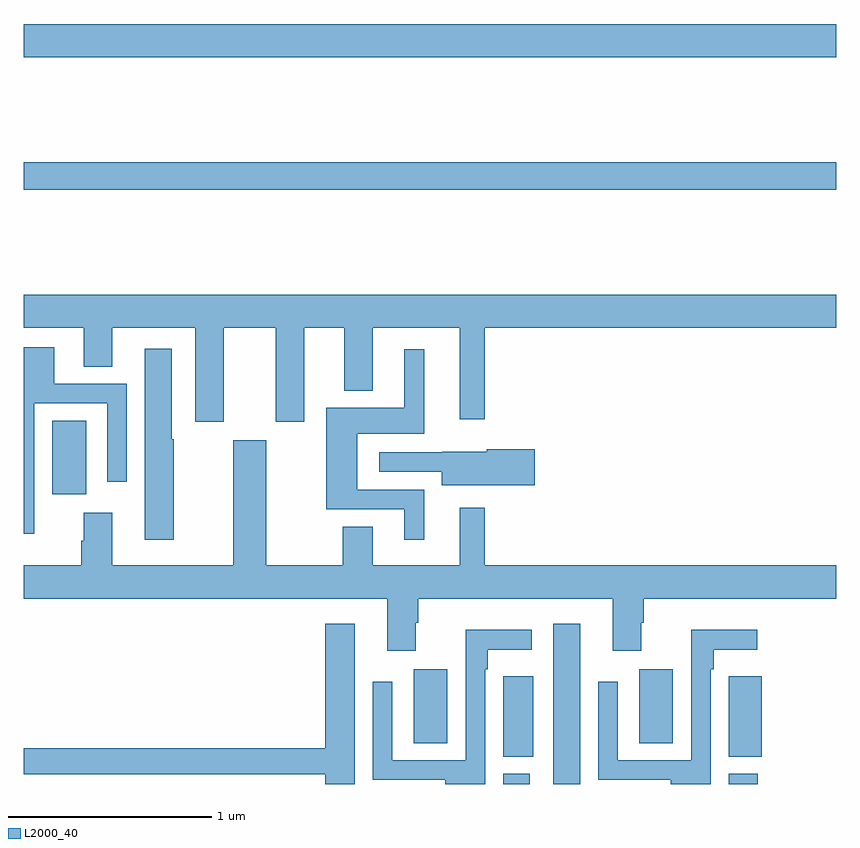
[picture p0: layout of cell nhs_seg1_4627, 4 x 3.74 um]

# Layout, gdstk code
import gdstk
lib = gdstk.Library(unit=1e-6, precision=1e-09)
def R(c, l, rs):  # rectangles x0, y0, x1, y1
    for r in rs: c.add(gdstk.rectangle(r[:2], r[2:], *l))
def P(c, l, *ps):  # polygons
    for p in ps: c.add(gdstk.Polygon(p, *l))
L2000_40 = (2000, 40)

nhs_seg1_4627 = lib.new_cell('nhs_seg1_4627')
R(nhs_seg1_4627, L2000_40, [(365.36,504.199,365.491,504.249), (365.606,504.199,365.74,504.988), (366.47,504.199,366.614,504.249), (365.36,504.334,365.509,504.73), (364.919,504.4,365.086,504.763), (366.029,504.4,366.196,504.763), (363.14,505.626,363.307,505.988), (363,507.124,367,507.26), (363,507.776,367,507.94)])
P(nhs_seg1_4627, L2000_40, [(363,506.444),(363.296,506.444),(363.296,506.254),(363.436,506.254),(363.436,506.444),(363.845,506.444),(363.845,505.983),(363.985,505.983),(363.985,506.444),(364.241,506.444),(364.241,505.983),(364.381,505.983),(364.381,506.444),(364.577,506.444),(364.577,506.135),(364.717,506.135),(364.717,506.444),(365.147,506.444),(365.147,505.995),(365.269,505.995),(365.269,506.444),(367,506.444),(367,506.608),(363,506.608)],
  [(363.051,506.073),(363.411,506.073),(363.411,505.686),(363.507,505.686),(363.507,506.169),(363.151,506.169),(363.151,506.35),(363,506.35),(363,505.43),(363.051,505.43)],
  [(363.738,505.895),(363.73,505.895),(363.73,506.341),(363.596,506.341),(363.596,505.401),(363.738,505.401)],
  [(364.972,505.647),(364.642,505.647),(364.642,505.922),(364.972,505.922),(364.972,506.338),(364.874,506.338),(364.874,506.05),(364.489,506.05),(364.489,505.551),(364.874,505.551),(364.874,505.401),(364.972,505.401)],
  [(364.93,504.992),(364.943,504.992),(364.943,505.112),(365.9,505.112),(365.9,504.855),(366.04,504.855),(366.04,504.992),(366.053,504.992),(366.053,505.112),(367,505.112),(367,505.276),(365.269,505.276),(365.269,505.558),(365.147,505.558),(365.147,505.276),(364.717,505.276),(364.717,505.466),(364.57,505.466),(364.57,505.276),(364.195,505.276),(364.195,505.891),(364.031,505.891),(364.031,505.276),(363.436,505.276),(363.436,505.534),(363.296,505.534),(363.296,505.397),(363.284,505.397),(363.284,505.276),(363,505.276),(363,505.112),(364.79,505.112),(364.79,504.855),(364.93,504.855)],
  [(365.515,505.847),(365.28,505.847),(365.28,505.834),(365.061,505.834),(365.061,505.833),(364.749,505.833),(364.749,505.737),(365.057,505.737),(365.057,505.669),(365.515,505.669)],
  [(364.63,504.988),(364.484,504.988),(364.484,504.374),(363,504.374),(363,504.246),(364.484,504.246),(364.484,504.199),(364.63,504.199)],
  [(365.271,504.764),(365.284,504.764),(365.284,504.86),(365.5,504.86),(365.5,504.958),(365.175,504.958),(365.175,504.315),(364.815,504.315),(364.815,504.703),(364.719,504.703),(364.719,504.219),(365.075,504.219),(365.075,504.199),(365.271,504.199)],
  [(366.381,504.764),(366.397,504.764),(366.397,504.86),(366.61,504.86),(366.61,504.958),(366.285,504.958),(366.285,504.315),(365.925,504.315),(365.925,504.703),(365.829,504.703),(365.829,504.219),(366.185,504.219),(366.185,504.199),(366.381,504.199)],
  [(366.632,504.73),(366.471,504.73),(366.471,504.617),(366.47,504.617),(366.47,504.334),(366.632,504.334)])

lib.write_gds('nhs_seg1_4627.gds')
